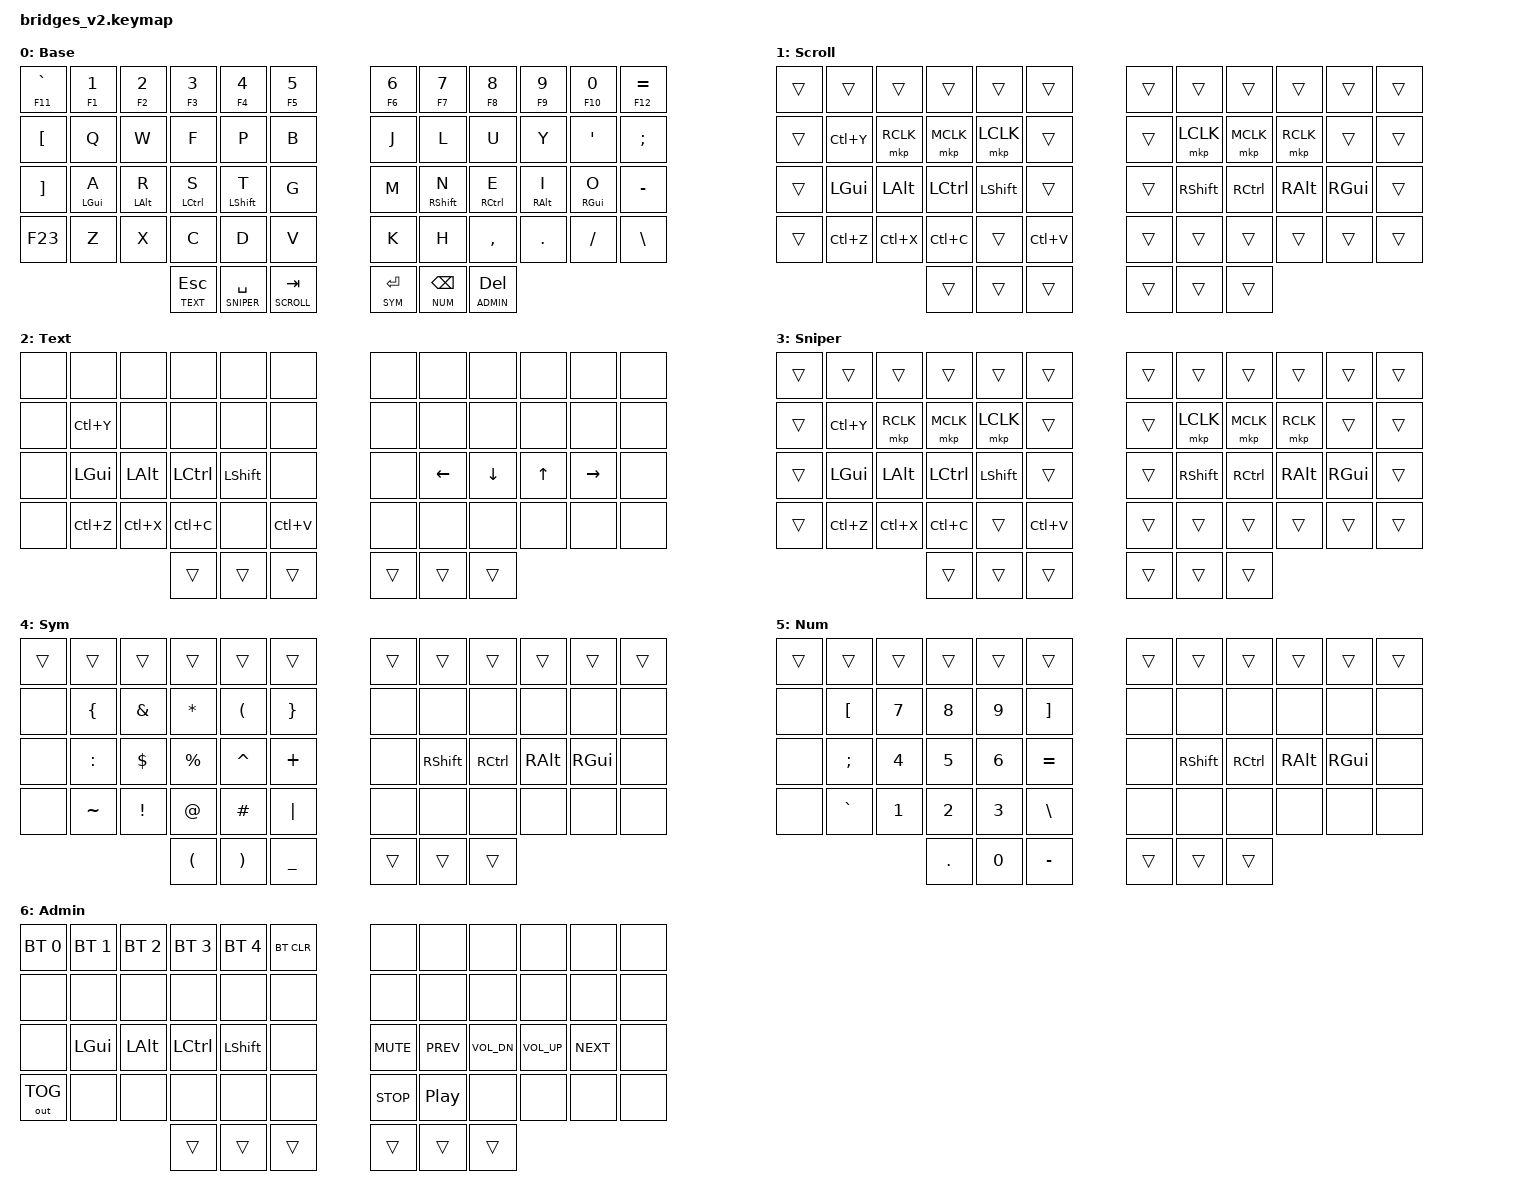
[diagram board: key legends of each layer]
#include <behaviors.dtsi>
#include <dt-bindings/zmk/bt.h>
#include <dt-bindings/zmk/input_transform.h>
#include <dt-bindings/zmk/keys.h>
#include <dt-bindings/zmk/outputs.h>
#include <dt-bindings/zmk/pointing.h>
#include <dt-bindings/zmk/pointing_tools.h>
#include <zephyr/dt-bindings/input/input-event-codes.h>

/*
 * Physical positions (54-key layout):
 *   00-11  number row
 *   12-23  top alpha row
 *   24-35  home alpha row
 *   36-47  bottom alpha row
 *   48-53  thumbs
 */

#define BASE    0
#define SCROLL  1
#define TEXT    2
#define SNIPER  3
#define SYM     4
#define NUM     5
#define ADMIN   6

/* Opposite hand plus all six thumbs. */
#define LEFT_HOLD_TRIGGERS  6 7 8 9 10 11 18 19 20 21 22 23 30 31 32 33 34 35 42 43 44 45 46 47 48 49 50 51 52 53
#define RIGHT_HOLD_TRIGGERS 0 1 2 3 4 5 12 13 14 15 16 17 24 25 26 27 28 29 36 37 38 39 40 41 48 49 50 51 52 53

#define EDIT_REDO  &kp LC(Y)
#define EDIT_UNDO  &kp LC(Z)
#define EDIT_CUT   &kp LC(X)
#define EDIT_COPY  &kp LC(C)
#define EDIT_PASTE &kp LC(V)

#define ADMIN_OUTPUT &out OUT_TOG

/ {
    behaviors {
        /* Urob-style "timeless" positional home-row mod-taps. */
        lhm: left_home_mods {
            compatible = "zmk,behavior-hold-tap";
            #binding-cells = <2>;
            flavor = "balanced";
            tapping-term-ms = <280>;
            quick-tap-ms = <175>;
            require-prior-idle-ms = <150>;
            hold-trigger-on-release;
            hold-trigger-key-positions = <LEFT_HOLD_TRIGGERS>;
            bindings = <&kp>, <&kp>;
        };

        rhm: right_home_mods {
            compatible = "zmk,behavior-hold-tap";
            #binding-cells = <2>;
            flavor = "balanced";
            tapping-term-ms = <280>;
            quick-tap-ms = <175>;
            require-prior-idle-ms = <150>;
            hold-trigger-on-release;
            hold-trigger-key-positions = <RIGHT_HOLD_TRIGGERS>;
            bindings = <&kp>, <&kp>;
        };

        /* Tap for a number-row key (and its shifted symbol), hold for F1-F12. */
        numfn: number_function_tap {
            compatible = "zmk,behavior-hold-tap";
            #binding-cells = <2>;
            flavor = "tap-preferred";
            tapping-term-ms = <200>;
            quick-tap-ms = <175>;
            bindings = <&kp>, <&kp>;
        };

        /* Layer-tap with tap-then-hold support for repeating Backspace/Delete. */
        thlt: thumb_layer_tap {
            compatible = "zmk,behavior-hold-tap";
            #binding-cells = <2>;
            flavor = "tap-preferred";
            tapping-term-ms = <200>;
            quick-tap-ms = <175>;
            bindings = <&mo>, <&kp>;
        };
    };

    keymap {
        compatible = "zmk,keymap";

        base_layer {
            display-name = "Base";
            bindings = <
                &numfn F11 GRAVE  &numfn F1 N1  &numfn F2 N2  &numfn F3 N3  &numfn F4 N4  &numfn F5 N5   &numfn F6 N6  &numfn F7 N7  &numfn F8 N8  &numfn F9 N9  &numfn F10 N0  &numfn F12 EQUAL
                &kp LBKT       &kp Q          &kp W          &kp F          &kp P          &kp B           &kp J          &kp L          &kp U          &kp Y           &kp SQT           &kp SEMI
                &kp RBKT       &lhm LGUI A    &lhm LALT R    &lhm LCTRL S   &lhm LSHFT T   &kp G           &kp M          &rhm RSHFT N   &rhm RCTRL E   &rhm RALT I     &rhm RGUI O       &kp MINUS
                &kp F23        &kp Z          &kp X          &kp C          &kp D          &kp V           &kp K          &kp H          &kp COMMA      &kp DOT         &kp FSLH          &kp BSLH
                                                &thlt TEXT ESC  &thlt SNIPER SPACE  &thlt SCROLL TAB   &thlt SYM RET  &thlt NUM BSPC  &thlt ADMIN DEL
            >;
        };

        scroll_layer {
            display-name = "Scroll";
            bindings = <
                &trans &trans &trans &trans &trans &trans   &trans &trans &trans &trans &trans &trans
                &trans EDIT_REDO &mkp RCLK &mkp MCLK &mkp LCLK &trans   &trans &mkp LCLK &mkp MCLK &mkp RCLK &trans &trans
                &trans &kp LGUI &kp LALT &kp LCTRL &kp LSHFT &trans   &trans &kp RSHFT &kp RCTRL &kp RALT &kp RGUI &trans
                &trans EDIT_UNDO EDIT_CUT EDIT_COPY &trans EDIT_PASTE   &trans &trans &trans &trans &trans &trans
                                  &trans &trans &trans   &trans &trans &trans
            >;
        };

        text_layer {
            display-name = "Text";
            bindings = <
                &none &none &none &none &none &none   &none &none &none &none &none &none
                &none EDIT_REDO &none &none &none &none   &none &none &none &none &none &none
                &none &kp LGUI &kp LALT &kp LCTRL &kp LSHFT &none   &none &kp LEFT &kp DOWN &kp UP &kp RIGHT &none
                &none EDIT_UNDO EDIT_CUT EDIT_COPY &none EDIT_PASTE   &none &none &none &none &none &none
                                  &trans &trans &trans   &trans &trans &trans
            >;
        };

        sniper_layer {
            display-name = "Sniper";
            bindings = <
                &trans &trans &trans &trans &trans &trans   &trans &trans &trans &trans &trans &trans
                &trans EDIT_REDO &mkp RCLK &mkp MCLK &mkp LCLK &trans   &trans &mkp LCLK &mkp MCLK &mkp RCLK &trans &trans
                &trans &kp LGUI &kp LALT &kp LCTRL &kp LSHFT &trans   &trans &kp RSHFT &kp RCTRL &kp RALT &kp RGUI &trans
                &trans EDIT_UNDO EDIT_CUT EDIT_COPY &trans EDIT_PASTE   &trans &trans &trans &trans &trans &trans
                                  &trans &trans &trans   &trans &trans &trans
            >;
        };

        /* Stripped canonical Miryoku symbol core on the left 3x5. */
        sym_layer {
            display-name = "Sym";
            bindings = <
                &trans &trans &trans &trans &trans &trans   &trans &trans &trans &trans &trans &trans
                &none &kp LBRC &kp AMPS &kp ASTRK &kp LPAR &kp RBRC   &none &none &none &none &none &none
                &none &kp COLON &kp DLLR &kp PRCNT &kp CARET &kp PLUS   &none &kp RSHFT &kp RCTRL &kp RALT &kp RGUI &none
                &none &kp TILDE &kp EXCL &kp AT &kp HASH &kp PIPE   &none &none &none &none &none &none
                                  &kp LPAR &kp RPAR &kp UNDER   &trans &trans &trans
            >;
        };

        /* Stripped canonical Miryoku numeric keypad on the left 3x5. */
        num_layer {
            display-name = "Num";
            bindings = <
                &trans &trans &trans &trans &trans &trans   &trans &trans &trans &trans &trans &trans
                &none &kp LBKT &kp N7 &kp N8 &kp N9 &kp RBKT   &none &none &none &none &none &none
                &none &kp SEMI &kp N4 &kp N5 &kp N6 &kp EQUAL   &none &kp RSHFT &kp RCTRL &kp RALT &kp RGUI &none
                &none &kp GRAVE &kp N1 &kp N2 &kp N3 &kp BSLH   &none &none &none &none &none &none
                                  &kp DOT &kp N0 &kp MINUS   &trans &trans &trans
            >;
        };

        admin_layer {
            display-name = "Admin";
            bindings = <
                &bt BT_SEL 0  &bt BT_SEL 1  &bt BT_SEL 2  &bt BT_SEL 3  &bt BT_SEL 4  &bt BT_CLR   &none &none &none &none &none &none
                &none &none &none &none &none &none   &none &none &none &none &none &none
                &none &kp LGUI &kp LALT &kp LCTRL &kp LSHFT &none   &kp C_MUTE &kp C_PREV &kp C_VOL_DN &kp C_VOL_UP &kp C_NEXT &none
                ADMIN_OUTPUT &none &none &none &none &none   &kp C_STOP &kp C_PP &none &none &none &none
                                  &trans &trans &trans   &trans &trans &trans
            >;
        };
    };
};

/*
 * Pointing runs on ZMK Pointing Tools pipelines on the split central,
 * whichever device that is: the dongle, the left half or the right half.
 * Everything below is the same for all three; the board decides which
 * listener reads a local sensor and which reads a split channel.
 *
 * Right ball: one router with cursor, scroll, text, and sniper
 * pipelines, selected by layer. Left ball: a router whose only pipeline is guarded adaptive scrolling.
 *
 * Distances are physical (micrometres, steps per metre), so changing CPI
 * from the tuner changes cursor speed only. Every tunable stage can be
 * previewed live and calibrated per ball from the local web tuner; its
 * Copy config output hands tested values back to this file.
 *
 * Unless noted, values reproduce the previous processor configuration at
 * the PAW3222's real 684 CPI (its driver applies multiples of 38).
 */
/ {
    /* Physical pointing devices, declared identically on every device so
     * device ids agree. split-input names the channel each ball's half
     * sends on, so CPI requests reach it whatever the central and pairing
     * order. Each half adds its own sensor at the end of this file. */
    zpt_right_ball: zpt_right_ball {
        compatible = "measlesbagel,zpt-pointing-device";
        stable-id = "right-ball";
        split-input = <&trackball_right_split>;
        resolution-cpi = <684>;
        cpi-min = <608>;
        cpi-max = <4826>;
        cpi-step = <38>;
    };

    zpt_left_ball: zpt_left_ball {
        compatible = "measlesbagel,zpt-pointing-device";
        stable-id = "left-ball";
        split-input = <&trackball_left_split>;
        resolution-cpi = <684>;
        cpi-min = <608>;
        cpi-max = <4826>;
        cpi-step = <38>;
    };

    /* Left scrolling ignores movement briefly after physical key presses,
     * preserving fine trackball motion while rejecting typing shake. */
    zpt_keypress_guard: zpt_keypress_guard {
        compatible = "measlesbagel,zpt-keypress-suppression";
        suppress-after-keypress-ms = <40>;
    };

    /* ---- Right cursor (default) ------------------------------------- */

    zpt_right_cursor_orientation: zpt_right_cursor_orientation {
        compatible = "measlesbagel,zpt-stage-orientation";
        stable-id = "right-cursor-orientation";
        invert-x;
        invert-y;
    };

    zpt_right_cursor_normalize: zpt_right_cursor_normalize {
        compatible = "measlesbagel,zpt-stage-resolution-normalize";
        stable-id = "right-cursor-normalize";
    };

    /* Compiled as a pass-through, like the previous noise filter. Enable and
     * refine it from the tuner, then copy the values here. */
    zpt_right_cursor_gate: zpt_right_cursor_gate {
        compatible = "measlesbagel,zpt-stage-coherent-displacement";
        stable-id = "right-cursor-gate";
        activation-distance-micrometers = <223>;
        coherence-percent = <60>;
        qualification-timeout-ms = <160>;
        idle-timeout-ms = <120>;
    };

    /* New: slow movement keeps today's 1:1 feel, fast flicks reach double
     * speed. The eight points hold 100 % up to 25 mm/s, rise evenly in log
     * speed, and hold 200 % from 250 mm/s; the stage draws a smooth curve
     * through them. A starting point to shape in the tuner's curve editor
     * (or from one of its presets) and calibrate on the keyboard. */
    zpt_right_cursor_acceleration: zpt_right_cursor_acceleration {
        compatible = "measlesbagel,zpt-stage-cursor-acceleration";
        stable-id = "right-cursor-acceleration";
        curve-speeds-mm-per-s = <0 25 40 63 100 158 250 400>;
        curve-sensitivity-percent = <100 100 110 135 165 190 200 200>;
        speed-rise-ms = <10>;
        speed-fall-ms = <5>;
    };

    zpt_right_cursor_transfer: zpt_right_cursor_transfer {
        compatible = "measlesbagel,zpt-stage-cursor-transfer";
        stable-id = "right-cursor-transfer";
        scale-multiplier = <1>;
        scale-divisor = <1>;
    };

    zpt_right_cursor_quantizer: zpt_right_cursor_quantizer {
        compatible = "measlesbagel,zpt-stage-cursor-quantizer";
        stable-id = "right-cursor-quantizer";
    };

    /* Replaces the 4 ms report rate limit without dropping distance. The
     * interval follows the active output. USB sends at most every 1 ms,
     * matching the host's 1 ms poll. Bluetooth sends every 8 ms, just
     * slower than the 7.5 ms connection interval the board asks hosts for,
     * so reports don't queue up. */
    zpt_right_cursor_coalescer: zpt_right_cursor_coalescer {
        compatible = "measlesbagel,zpt-stage-cursor-coalescer";
        stable-id = "right-cursor-coalescer";
        usb-report-interval-ms = <1>;
        ble-report-interval-ms = <8>;
    };

    zpt_right_cursor_out: zpt_right_cursor_out {
        compatible = "measlesbagel,zpt-sink-cursor";
        stable-id = "right-cursor-out";
    };

    zpt_right_cursor: zpt_right_cursor {
        compatible = "measlesbagel,zpt-pipeline";
        stable-id = "right-cursor";
        stages = <&zpt_right_cursor_orientation &zpt_right_cursor_normalize
                  &zpt_right_cursor_gate &zpt_right_cursor_acceleration
                  &zpt_right_cursor_transfer &zpt_right_cursor_quantizer
                  &zpt_right_cursor_coalescer>;
        sink = <&zpt_right_cursor_out>;
    };

    /* ---- Right scroll (Scroll layer) -------------------------------- */

    zpt_right_scroll_orientation: zpt_right_scroll_orientation {
        compatible = "measlesbagel,zpt-stage-orientation";
        stable-id = "right-scroll-orientation";
        invert-x;
        invert-y;
    };

    zpt_right_scroll_normalize: zpt_right_scroll_normalize {
        compatible = "measlesbagel,zpt-stage-resolution-normalize";
        stable-id = "right-scroll-normalize";
    };

    zpt_right_scroll_intent: zpt_right_scroll_intent {
        compatible = "measlesbagel,zpt-stage-axis-intent";
        stable-id = "right-scroll-intent";
        policy = <ZPT_AXIS_ADAPTIVE>;
        engage-ratio-percent = <300>;
        release-ratio-percent = <180>;
        activation-distance-micrometers = <594>;
        window-ms = <64>;
        idle-timeout-ms = <120>;
    };

    zpt_right_scroll_constraint: zpt_right_scroll_constraint {
        compatible = "measlesbagel,zpt-stage-axis-constraint";
        stable-id = "right-scroll-constraint";
        idle-timeout-ms = <120>;
        fold-interval-ms = <16>;
    };

    /* The previous 1/8 wheel step per count. */
    zpt_right_scroll_batcher: zpt_right_scroll_batcher {
        compatible = "measlesbagel,zpt-stage-scroll-batcher";
        stable-id = "right-scroll-batcher";
        steps-per-meter = <3366>;
        report-interval-ms = <16>;
    };

    zpt_right_scroll_out: zpt_right_scroll_out {
        compatible = "measlesbagel,zpt-sink-scroll";
        stable-id = "right-scroll-out";
    };

    zpt_right_scroll: zpt_right_scroll {
        compatible = "measlesbagel,zpt-pipeline";
        stable-id = "right-scroll";
        stages = <&zpt_right_scroll_orientation &zpt_right_scroll_normalize
                  &zpt_right_scroll_intent &zpt_right_scroll_constraint
                  &zpt_right_scroll_batcher>;
        sink = <&zpt_right_scroll_out>;
    };

    /* ---- Right text navigation (Text layer) ------------------------- */

    zpt_right_text_orientation: zpt_right_text_orientation {
        compatible = "measlesbagel,zpt-stage-orientation";
        stable-id = "right-text-orientation";
        invert-x;
        invert-y;
    };

    zpt_right_text_normalize: zpt_right_text_normalize {
        compatible = "measlesbagel,zpt-stage-resolution-normalize";
        stable-id = "right-text-normalize";
    };

    zpt_right_text_intent: zpt_right_text_intent {
        compatible = "measlesbagel,zpt-stage-axis-intent";
        stable-id = "right-text-intent";
        policy = <ZPT_AXIS_ADAPTIVE>;
        engage-ratio-percent = <150>;
        release-ratio-percent = <100>;
        activation-distance-micrometers = <1300>;
        window-ms = <32>;
        idle-timeout-ms = <40>;
    };

    zpt_right_text_constraint: zpt_right_text_constraint {
        compatible = "measlesbagel,zpt-stage-axis-constraint";
        stable-id = "right-text-constraint";
        discard-unclassified;
        idle-timeout-ms = <40>;
    };

    /* Horizontal and vertical steps stay independent; axis intent is chosen
     * from gesture geometry before either applies. */
    zpt_right_text_nav: zpt_right_text_nav {
        compatible = "measlesbagel,zpt-stage-text-nav";
        stable-id = "right-text-nav";
        horizontal-threshold-micrometers = <2785>;
        vertical-threshold-micrometers = <2785>;
        idle-timeout-ms = <40>;
    };

    zpt_right_text_out: zpt_right_text_out {
        compatible = "measlesbagel,zpt-sink-action";
        stable-id = "right-text-out";
        bindings = <&kp LEFT>, <&kp RIGHT>, <&kp UP>, <&kp DOWN>;
        tap-ms = <5>;
    };

    zpt_right_text: zpt_right_text {
        compatible = "measlesbagel,zpt-pipeline";
        stable-id = "right-text";
        stages = <&zpt_right_text_orientation &zpt_right_text_normalize
                  &zpt_right_text_intent &zpt_right_text_constraint
                  &zpt_right_text_nav>;
        sink = <&zpt_right_text_out>;
    };

    /* ---- Right sniper (Sniper layer) -------------------------------- */

    zpt_right_sniper_orientation: zpt_right_sniper_orientation {
        compatible = "measlesbagel,zpt-stage-orientation";
        stable-id = "right-sniper-orientation";
        invert-x;
        invert-y;
    };

    zpt_right_sniper_normalize: zpt_right_sniper_normalize {
        compatible = "measlesbagel,zpt-stage-resolution-normalize";
        stable-id = "right-sniper-normalize";
    };

    zpt_right_sniper_transfer: zpt_right_sniper_transfer {
        compatible = "measlesbagel,zpt-stage-cursor-transfer";
        stable-id = "right-sniper-transfer";
        scale-multiplier = <1>;
        scale-divisor = <4>;
    };

    zpt_right_sniper_quantizer: zpt_right_sniper_quantizer {
        compatible = "measlesbagel,zpt-stage-cursor-quantizer";
        stable-id = "right-sniper-quantizer";
    };

    zpt_right_sniper_coalescer: zpt_right_sniper_coalescer {
        compatible = "measlesbagel,zpt-stage-cursor-coalescer";
        stable-id = "right-sniper-coalescer";
        usb-report-interval-ms = <1>;
        ble-report-interval-ms = <8>;
    };

    zpt_right_sniper_out: zpt_right_sniper_out {
        compatible = "measlesbagel,zpt-sink-cursor";
        stable-id = "right-sniper-out";
    };

    zpt_right_sniper: zpt_right_sniper {
        compatible = "measlesbagel,zpt-pipeline";
        stable-id = "right-sniper";
        stages = <&zpt_right_sniper_orientation &zpt_right_sniper_normalize
                  &zpt_right_sniper_transfer &zpt_right_sniper_quantizer
                  &zpt_right_sniper_coalescer>;
        sink = <&zpt_right_sniper_out>;
    };

    zpt_right_router: zpt_right_router {
        compatible = "measlesbagel,zpt-router";
        stable-id = "right-router";
        pipelines = <&zpt_right_cursor &zpt_right_scroll &zpt_right_text &zpt_right_sniper>;
        default-pipeline = <&zpt_right_cursor>;

        scroll {
            layers = <SCROLL>;
            pipeline = <&zpt_right_scroll>;
        };

        text {
            layers = <TEXT>;
            pipeline = <&zpt_right_text>;
        };

        sniper {
            layers = <SNIPER>;
            pipeline = <&zpt_right_sniper>;
        };
    };

    zpt_right_source: zpt_right_source {
        compatible = "measlesbagel,zpt-input-processor-source";
        #input-processor-cells = <0>;
        source-id = <1>;
        device = <&zpt_right_ball>;
        router = <&zpt_right_router>;
        /* Takes compact split frames when the ball is on a peripheral and
         * plain X/Y when it is local to the central. */
        transported;
        compact-event-code = <INPUT_REL_Z>;
    };

    zpt_right_output: zpt_right_output {
        compatible = "zmk,input-listener";
        device = <&zpt_right_router>;
    };

    /* ---- Left scroll (always) --------------------------------------- */

    /* The left sensor is mounted unrotated, so it needs no orientation. */
    zpt_left_scroll_normalize: zpt_left_scroll_normalize {
        compatible = "measlesbagel,zpt-stage-resolution-normalize";
        stable-id = "left-scroll-normalize";
    };

    zpt_left_scroll_intent: zpt_left_scroll_intent {
        compatible = "measlesbagel,zpt-stage-axis-intent";
        stable-id = "left-scroll-intent";
        policy = <ZPT_AXIS_ADAPTIVE>;
        engage-ratio-percent = <300>;
        release-ratio-percent = <180>;
        activation-distance-micrometers = <594>;
        window-ms = <64>;
        idle-timeout-ms = <120>;
        suppression = <&zpt_keypress_guard>;
    };

    zpt_left_scroll_constraint: zpt_left_scroll_constraint {
        compatible = "measlesbagel,zpt-stage-axis-constraint";
        stable-id = "left-scroll-constraint";
        idle-timeout-ms = <120>;
        fold-interval-ms = <16>;
        suppression = <&zpt_keypress_guard>;
    };

    zpt_left_scroll_batcher: zpt_left_scroll_batcher {
        compatible = "measlesbagel,zpt-stage-scroll-batcher";
        stable-id = "left-scroll-batcher";
        steps-per-meter = <3366>;
        report-interval-ms = <16>;
        suppression = <&zpt_keypress_guard>;
    };

    zpt_left_scroll_out: zpt_left_scroll_out {
        compatible = "measlesbagel,zpt-sink-scroll";
        stable-id = "left-scroll-out";
    };

    zpt_left_scroll: zpt_left_scroll {
        compatible = "measlesbagel,zpt-pipeline";
        stable-id = "left-scroll";
        stages = <&zpt_left_scroll_normalize &zpt_left_scroll_intent
                  &zpt_left_scroll_constraint &zpt_left_scroll_batcher>;
        sink = <&zpt_left_scroll_out>;
    };

    zpt_left_router: zpt_left_router {
        compatible = "measlesbagel,zpt-router";
        stable-id = "left-router";
        pipelines = <&zpt_left_scroll>;
        default-pipeline = <&zpt_left_scroll>;
    };

    /* Decodes the left half's compact split frames (see the encoder at the
     * end of this file). The event codes must match.
     *
     * The left sensor reports about 6x fewer counts per millimetre than the
     * right one at the same 684 CPI setting. Swapping the balls and
     * bypassing the compact codec changed nothing, so the cause is the
     * sensor or its lens (#21).
     * Labelling its frames with the measured effective resolution makes
     * left distances physical, so the left scroll settings above match the
     * right ball's. The source therefore does not follow zpt_left_ball's
     * CPI: a CPI preview on the left ball changes scroll speed. */
    zpt_left_source: zpt_left_source {
        compatible = "measlesbagel,zpt-input-processor-source";
        #input-processor-cells = <0>;
        source-id = <0>;
        resolution-cpi = <114>;
        router = <&zpt_left_router>;
        transported;
        compact-event-code = <INPUT_REL_Z>;
    };

    zpt_left_output: zpt_left_output {
        compatible = "zmk,input-listener";
        device = <&zpt_left_router>;
    };

    zpt_compact_encoder: zpt_compact_encoder {
        compatible = "measlesbagel,zpt-input-processor-compact-split-encoder";
        #input-processor-cells = <0>;
        event-code = <INPUT_REL_Z>;
    };

    /* ---- Split sensor-control tunnel -------------------------------- */

    /* Lets the tuner read and preview a remote ball's CPI through the
     * central, whichever device that is. Each half answers on its own
     * ball's split channel (the devices' split-input above). The agent's
     * node name must stay within 8 characters. */
    zpt_cpi: zpt_cpi {
        compatible = "measlesbagel,zpt-sensor-control";
        #binding-cells = <0>;
    };

    zpt_cpi_proxy {
        compatible = "measlesbagel,zpt-sensor-control-proxy";
        agent = <&zpt_cpi>;
    };
};

/ {
    zpt_telemetry {
        compatible = "measlesbagel,zpt-telemetry";
    };

    /* Per-stage diagnostics and the tuner's calibration samples. */
    zpt_pipeline_telemetry {
        compatible = "measlesbagel,zpt-pipeline-telemetry";
        pipelines = <&zpt_right_cursor &zpt_right_scroll &zpt_right_text
                     &zpt_right_sniper &zpt_left_scroll>;
    };

    /* The board enables this USB serial port only on the central, so the
     * telemetry service builds there only. */
    chosen {
        measlesbagel,zpt-telemetry-uart = &config_acm;
    };
};

/* The board enables these only on the central. */
&trackball_right_listener {
    input-processors = <&zpt_right_source>;
};

&trackball_left_listener {
    input-processors = <&zpt_left_source>;
};

/* Each half sends every sensor read as one compact split event carrying
 * exact signed counts, sequence, and timing. The driver reads every 8 ms
 * while the ball moves, and the 7.5 ms split link carries each read as it
 * comes. A channel only sends from the half that owns it. */
&trackball_left_split {
    input-processors = <&zpt_compact_encoder>;
};

&trackball_right_split {
    input-processors = <&zpt_compact_encoder>;
};

/* Each half names its own sensor for CPI control. */
#if defined(BRIDGES_V2_RIGHT_TRACKBALL)
&zpt_right_ball {
    sensor = <&trackball_right>;
};
#endif

#if defined(BRIDGES_V2_LEFT_TRACKBALL)
&zpt_left_ball {
    sensor = <&trackball_left>;
};
#endif
